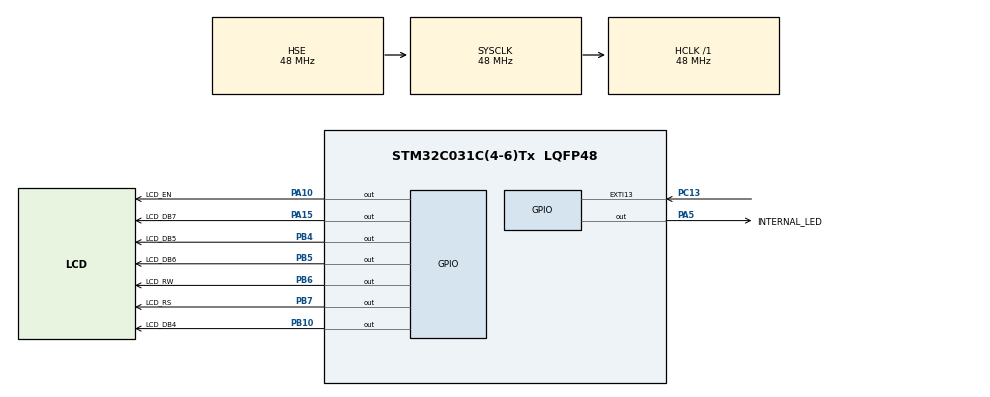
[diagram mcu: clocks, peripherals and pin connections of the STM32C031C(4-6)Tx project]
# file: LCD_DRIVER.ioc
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Mcu.Family=STM32C0
Mcu.Name=STM32C031C(4-6)Tx
Mcu.Package=LQFP48
PA10.GPIO_Label=LCD_EN
PA10.Signal=GPIO_Output
PA13.GPIO_Label=DEBUG_SWDIO
PA13.Signal=DEBUG_SWDIO
PA14-BOOT0.GPIO_Label=DEBUG_SWCLK
PA14-BOOT0.Signal=DEBUG_SWCLK
PA15.GPIO_Label=LCD_DB7
PA15.Signal=GPIO_Output
PA2.GPIO_Label=VCP_USART2_TX
PA2.Signal=USART2_TX
PA3.GPIO_Label=VCP_USART2_RX
PA3.Signal=USART2_RX
PA5.GPIO_Label=INTERNAL_LED
PA5.Signal=GPIO_Output
PB10.GPIO_Label=LCD_DB4
PB10.Signal=GPIO_Output
PB4.GPIO_Label=LCD_DB5
PB4.Signal=GPIO_Output
PB5.GPIO_Label=LCD_DB6
PB5.Signal=GPIO_Output
PB6.GPIO_Label=LCD_RW
PB6.Signal=GPIO_Output
PB7.GPIO_Label=LCD_RS
PB7.Signal=GPIO_Output
PC13.Signal=GPXTI13
PC14-OSCX_IN\ (PC14).GPIO_Label=RCC_OSCX_IN
PC14-OSCX_IN\ (PC14).Mode=LSE-External-Oscillator
PC14-OSCX_IN\ (PC14).Signal=RCC_OSCX_IN
PC15-OSCX_OUT\ (PC15).GPIO_Label=RCC_OSCX_OUT
PC15-OSCX_OUT\ (PC15).Mode=LSE-External-Oscillator
PC15-OSCX_OUT\ (PC15).Signal=RCC_OSCX_OUT
PF0-OSC_IN\ (PF0).GPIO_Label=RCC_OSC_IN
PF0-OSC_IN\ (PF0).Mode=HSE-External-Oscillator
PF0-OSC_IN\ (PF0).Signal=RCC_OSC_IN
PF1-OSC_OUT\ (PF1).GPIO_Label=RCC_OSC_OUT
PF1-OSC_OUT\ (PF1).Mode=HSE-External-Oscillator
PF1-OSC_OUT\ (PF1).Signal=RCC_OSC_OUT
ProjectManager.HeapSize=0x200
ProjectManager.StackSize=0x400
ProjectManager.TargetToolchain=STM32CubeIDE
RCC.ADCFreq_Value=48000000
RCC.AHBFreq_Value=48000000
RCC.CortexFreq_Value=48000000
RCC.EXTERNAL_CLOCK_VALUE=12288000
RCC.HCLKFreq_Value=48000000
RCC.HSE_VALUE=48000000
RCC.HSISYSCLKDivider=RCC_HSI_DIV1
RCC.HSI_VALUE=48000000
RCC.SYSCLKFreq_VALUE=48000000
RCC.SYSCLKSource=RCC_SYSCLKSOURCE_HSE
board=NUCLEO-C031C6

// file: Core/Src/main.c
/* USER CODE BEGIN Header */
/**
  ******************************************************************************
  * @file           : main.c
  * @brief          : Main program body
  ******************************************************************************
  */
/* USER CODE END Header */
#include "main.h"

/* USER CODE BEGIN Includes */
#include <stdio.h>
#include "string.h"
/* USER CODE END Includes */

/* USER CODE BEGIN PV */
// Variabile semaforo: 1 = il display si aggiorna, 0 = in pausa
volatile uint8_t lcd_running = 1;
/* USER CODE END PV */

void SystemClock_Config(void);
static void MX_GPIO_Init(void);

/* USER CODE BEGIN 0 */

void LCD_Pulse_EN(void) {
    // 1. Piccolissimo ritardo per far stabilizzare i dati prima di dare l'Enable (Setup Time)
    for(volatile int x=0; x<5; x++);

    // 2. Alza Enable
    LL_GPIO_SetOutputPin(LCD_EN_GPIO_Port, LCD_EN_Pin);
    for(volatile int x=0; x<20; x++); // Ritardo per fargli leggere il dato

    // 3. Abbassa Enable
    LL_GPIO_ResetOutputPin(LCD_EN_GPIO_Port, LCD_EN_Pin);
    for(volatile int x=0; x<20; x++); // Ritardo di Hold Time
}

void LCD_Send_Nibble(uint8_t nibble) {
    // DB4..DB7
    if (nibble & 0x01) LL_GPIO_SetOutputPin(LCD_DB4_GPIO_Port, LCD_DB4_Pin);
    else               LL_GPIO_ResetOutputPin(LCD_DB4_GPIO_Port, LCD_DB4_Pin);

    if (nibble & 0x02) LL_GPIO_SetOutputPin(LCD_DB5_GPIO_Port, LCD_DB5_Pin);
    else               LL_GPIO_ResetOutputPin(LCD_DB5_GPIO_Port, LCD_DB5_Pin);

    if (nibble & 0x04) LL_GPIO_SetOutputPin(LCD_DB6_GPIO_Port, LCD_DB6_Pin);
    else               LL_GPIO_ResetOutputPin(LCD_DB6_GPIO_Port, LCD_DB6_Pin);

    if (nibble & 0x08) LL_GPIO_SetOutputPin(LCD_DB7_GPIO_Port, LCD_DB7_Pin);
    else               LL_GPIO_ResetOutputPin(LCD_DB7_GPIO_Port, LCD_DB7_Pin);

    LCD_Pulse_EN();
}

// FUNZIONE CORRETTA: Legge il Busy Flag evitando cortocircuiti logici
void LCD_WaitBusy(void) {
    uint8_t isBusy = 1;
    uint32_t timeout = 50000;

    // FONDAMENTALE: Imposta TUTTI i pin dati come INPUT prima di leggere!
    LL_GPIO_SetPinMode(LCD_DB4_GPIO_Port, LCD_DB4_Pin, LL_GPIO_MODE_INPUT);
    LL_GPIO_SetPinMode(LCD_DB5_GPIO_Port, LCD_DB5_Pin, LL_GPIO_MODE_INPUT);
    LL_GPIO_SetPinMode(LCD_DB6_GPIO_Port, LCD_DB6_Pin, LL_GPIO_MODE_INPUT);
    LL_GPIO_SetPinMode(LCD_DB7_GPIO_Port, LCD_DB7_Pin, LL_GPIO_MODE_INPUT);

    // RS = 0 (Comando), RW = 1 (Lettura)
    LL_GPIO_ResetOutputPin(LCD_RS_GPIO_Port, LCD_RS_Pin);
    LL_GPIO_SetOutputPin(LCD_RW_GPIO_Port, LCD_RW_Pin);

    while (isBusy && timeout > 0) {
        // Leggi il primo nibble (dove si trova il Busy Flag su DB7)
        LL_GPIO_SetOutputPin(LCD_EN_GPIO_Port, LCD_EN_Pin);
        for(volatile int x=0; x<15; x++);
        isBusy = LL_GPIO_IsInputPinSet(LCD_DB7_GPIO_Port, LCD_DB7_Pin);
        LL_GPIO_ResetOutputPin(LCD_EN_GPIO_Port, LCD_EN_Pin);
        for(volatile int x=0; x<15; x++);

        // Leggi il secondo nibble (Obbligatorio a 4 bit per chiudere il ciclo!)
        LL_GPIO_SetOutputPin(LCD_EN_GPIO_Port, LCD_EN_Pin);
        for(volatile int x=0; x<15; x++);
        LL_GPIO_ResetOutputPin(LCD_EN_GPIO_Port, LCD_EN_Pin);
        for(volatile int x=0; x<15; x++);

        timeout--;
    }

    // Ripristina la scrittura (RW=0) e rimetti TUTTI i pin come OUTPUT
    LL_GPIO_ResetOutputPin(LCD_RW_GPIO_Port, LCD_RW_Pin);
    LL_GPIO_SetPinMode(LCD_DB4_GPIO_Port, LCD_DB4_Pin, LL_GPIO_MODE_OUTPUT);
    LL_GPIO_SetPinMode(LCD_DB5_GPIO_Port, LCD_DB5_Pin, LL_GPIO_MODE_OUTPUT);
    LL_GPIO_SetPinMode(LCD_DB6_GPIO_Port, LCD_DB6_Pin, LL_GPIO_MODE_OUTPUT);
    LL_GPIO_SetPinMode(LCD_DB7_GPIO_Port, LCD_DB7_Pin, LL_GPIO_MODE_OUTPUT);
}

void LCD_Send_Byte(uint8_t byte, uint8_t isData) {
    // 1. Aspetta la conferma dal display usando il Flag (velocissimo!)
    LCD_WaitBusy();

    // 2. Invia i dati
    LL_GPIO_ResetOutputPin(LCD_RW_GPIO_Port, LCD_RW_Pin);

    if (isData) LL_GPIO_SetOutputPin(LCD_RS_GPIO_Port, LCD_RS_Pin);
    else        LL_GPIO_ResetOutputPin(LCD_RS_GPIO_Port, LCD_RS_Pin);

    LCD_Send_Nibble(byte >> 4);   // nibble alto
    LCD_Send_Nibble(byte & 0x0F); // nibble basso
}

void LCD_Init(void) {
    HAL_Delay(50); // attesa power-on

    // Inizializzazione 4-bit forzata a mano (senza leggere il flag)
    LL_GPIO_ResetOutputPin(LCD_RS_GPIO_Port, LCD_RS_Pin);
    LL_GPIO_ResetOutputPin(LCD_RW_GPIO_Port, LCD_RW_Pin);

    LCD_Send_Nibble(0x03); HAL_Delay(5);
    LCD_Send_Nibble(0x03); HAL_Delay(1);
    LCD_Send_Nibble(0x03); HAL_Delay(1);
    LCD_Send_Nibble(0x02); HAL_Delay(1); // passa a 4-bit

    // Da qui in poi Send_Byte userà il Busy Flag per viaggiare al massimo!
    LCD_Send_Byte(0x28, 0); // 4-bit, 2 righe, 5x8
    LCD_Send_Byte(0x0C, 0); // display ON, cursore OFF
    LCD_Send_Byte(0x06, 0); // incremento automatico
    LCD_Send_Byte(0x01, 0); // clear display
}

void LCD_Print(const char *str) {
    while (*str) {
        LCD_Send_Byte((uint8_t)*str++, 1);
    }
}
void LCD_Set_Cursor(uint8_t row, uint8_t col) {
    uint8_t address = (row == 0) ? 0x00 : 0x40;
    address += col;
    LCD_Send_Byte(0x80 | address, 0);
}

/* USER CODE END 0 */

int main(void)
{

  /* MCU Configuration--------------------------------------------------------*/

  /* Reset of all peripherals, Initializes the Flash interface and the Systick. */
  HAL_Init();

  /* Configure the system clock */
  SystemClock_Config();

  /* Initialize all configured peripherals */
  MX_GPIO_Init();
  /* USER CODE BEGIN 2 */
  LCD_Init();

  // Variabili richieste prima del ciclo while
  uint8_t i = 0;
  char buff[16];
  /* USER CODE END 2 */

  /* Infinite loop */
  while (1)
  {

    /* USER CODE BEGIN 3 */

    // Se il semaforo è verde (1), aggiorna il display
    if (lcd_running == 1)
    {
        LCD_Send_Byte(0x01, 0); // lcdSendCmd(0x01) -> Pulisce il display
        // RIMOSSO HAL_Delay(2); perché c'è il Busy Flag!

        // Stampa sulla prima riga
        sprintf(buff, "Char %4d -> ", i);
        LCD_Set_Cursor(0, 0);
        LCD_Print(buff);
        LCD_Send_Byte(i, 1);    // lcdSendChar(i) -> Invia il singolo carattere ASCII

        // Stampa sulla seconda riga (in Esadecimale)
        sprintf(buff, "Char 0x%02X -> %c", i, i);
        LCD_Set_Cursor(1, 0);
        LCD_Print(buff);

        i += 1; // Passa al carattere successivo
    }

    // Aspetta in ogni caso 750ms prima di ripetere il ciclo
    HAL_Delay(750);

  }
  /* USER CODE END 3 */
}

void SystemClock_Config(void)
{
  RCC_OscInitTypeDef RCC_OscInitStruct = {0};
  RCC_ClkInitTypeDef RCC_ClkInitStruct = {0};

  __HAL_FLASH_SET_LATENCY(FLASH_LATENCY_1);

  /** Initializes the RCC Oscillators according to the specified parameters
  * in the RCC_OscInitTypeDef structure.
  */
  RCC_OscInitStruct.OscillatorType = RCC_OSCILLATORTYPE_HSE;
  RCC_OscInitStruct.HSEState = RCC_HSE_ON;
  if (HAL_RCC_OscConfig(&RCC_OscInitStruct) != HAL_OK)
  {
    Error_Handler();
  }

  /** Initializes the CPU, AHB and APB buses clocks
  */
  RCC_ClkInitStruct.ClockType = RCC_CLOCKTYPE_HCLK|RCC_CLOCKTYPE_SYSCLK
                              |RCC_CLOCKTYPE_PCLK1;
  RCC_ClkInitStruct.SYSCLKSource = RCC_SYSCLKSOURCE_HSE;
  RCC_ClkInitStruct.SYSCLKDivider = RCC_SYSCLK_DIV1;
  RCC_ClkInitStruct.AHBCLKDivider = RCC_HCLK_DIV1;
  RCC_ClkInitStruct.APB1CLKDivider = RCC_APB1_DIV1;

  if (HAL_RCC_ClockConfig(&RCC_ClkInitStruct, FLASH_LATENCY_1) != HAL_OK)
  {
    Error_Handler();
  }
}

static void MX_GPIO_Init(void)
{
  LL_EXTI_InitTypeDef EXTI_InitStruct = {0};
  LL_GPIO_InitTypeDef GPIO_InitStruct = {0};

  /* GPIO Ports Clock Enable */
  LL_IOP_GRP1_EnableClock(LL_IOP_GRP1_PERIPH_GPIOC);
  LL_IOP_GRP1_EnableClock(LL_IOP_GRP1_PERIPH_GPIOF);
  LL_IOP_GRP1_EnableClock(LL_IOP_GRP1_PERIPH_GPIOA);
  LL_IOP_GRP1_EnableClock(LL_IOP_GRP1_PERIPH_GPIOB);

  /**/
  LL_GPIO_ResetOutputPin(INTERNAL_LED_GPIO_Port, INTERNAL_LED_Pin);

  /**/
  LL_GPIO_ResetOutputPin(LCD_DB4_GPIO_Port, LCD_DB4_Pin);

  /**/
  LL_GPIO_ResetOutputPin(LCD_EN_GPIO_Port, LCD_EN_Pin);

  /**/
  LL_GPIO_ResetOutputPin(LCD_DB7_GPIO_Port, LCD_DB7_Pin);

  /**/
  LL_GPIO_ResetOutputPin(LCD_DB5_GPIO_Port, LCD_DB5_Pin);

  /**/
  LL_GPIO_ResetOutputPin(LCD_DB6_GPIO_Port, LCD_DB6_Pin);

  /**/
  LL_GPIO_ResetOutputPin(LCD_RW_GPIO_Port, LCD_RW_Pin);

  /**/
  LL_GPIO_ResetOutputPin(LCD_RS_GPIO_Port, LCD_RS_Pin);

  /**/
  EXTI_InitStruct.Line_0_31 = LL_EXTI_LINE_13;
  EXTI_InitStruct.LineCommand = ENABLE;
  EXTI_InitStruct.Mode = LL_EXTI_MODE_IT;
  EXTI_InitStruct.Trigger = LL_EXTI_TRIGGER_RISING;
  LL_EXTI_Init(&EXTI_InitStruct);

  /**/
  LL_GPIO_SetPinMode(GPIOC, LL_GPIO_PIN_13, LL_GPIO_MODE_INPUT);

  /**/
  LL_GPIO_SetPinPull(GPIOC, LL_GPIO_PIN_13, LL_GPIO_PULL_NO);

  /**/
  LL_EXTI_SetEXTISource(LL_EXTI_CONFIG_PORTC, LL_EXTI_CONFIG_LINE13);

  /**/
  GPIO_InitStruct.Pin = VCP_USART2_TX_Pin;
  GPIO_InitStruct.Mode = LL_GPIO_MODE_ALTERNATE;
  GPIO_InitStruct.Speed = LL_GPIO_SPEED_FREQ_LOW;
  GPIO_InitStruct.OutputType = LL_GPIO_OUTPUT_PUSHPULL;
  GPIO_InitStruct.Pull = LL_GPIO_PULL_NO;
  GPIO_InitStruct.Alternate = LL_GPIO_AF_1;
  LL_GPIO_Init(VCP_USART2_TX_GPIO_Port, &GPIO_InitStruct);

  /**/
  GPIO_InitStruct.Pin = VCP_USART2_RX_Pin;
  GPIO_InitStruct.Mode = LL_GPIO_MODE_ALTERNATE;
  GPIO_InitStruct.Speed = LL_GPIO_SPEED_FREQ_LOW;
  GPIO_InitStruct.OutputType = LL_GPIO_OUTPUT_PUSHPULL;
  GPIO_InitStruct.Pull = LL_GPIO_PULL_NO;
  GPIO_InitStruct.Alternate = LL_GPIO_AF_1;
  LL_GPIO_Init(VCP_USART2_RX_GPIO_Port, &GPIO_InitStruct);

  /**/
  GPIO_InitStruct.Pin = INTERNAL_LED_Pin;
  GPIO_InitStruct.Mode = LL_GPIO_MODE_OUTPUT;
  GPIO_InitStruct.Speed = LL_GPIO_SPEED_FREQ_LOW;
  GPIO_InitStruct.OutputType = LL_GPIO_OUTPUT_PUSHPULL;
  GPIO_InitStruct.Pull = LL_GPIO_PULL_NO;
  LL_GPIO_Init(INTERNAL_LED_GPIO_Port, &GPIO_InitStruct);

  /**/
  GPIO_InitStruct.Pin = LCD_DB4_Pin;
  GPIO_InitStruct.Mode = LL_GPIO_MODE_OUTPUT;
  GPIO_InitStruct.Speed = LL_GPIO_SPEED_FREQ_LOW;
  GPIO_InitStruct.OutputType = LL_GPIO_OUTPUT_PUSHPULL;
  GPIO_InitStruct.Pull = LL_GPIO_PULL_NO;
  LL_GPIO_Init(LCD_DB4_GPIO_Port, &GPIO_InitStruct);

  /**/
  GPIO_InitStruct.Pin = LCD_EN_Pin;
  GPIO_InitStruct.Mode = LL_GPIO_MODE_OUTPUT;
  GPIO_InitStruct.Speed = LL_GPIO_SPEED_FREQ_LOW;
  GPIO_InitStruct.OutputType = LL_GPIO_OUTPUT_PUSHPULL;
  GPIO_InitStruct.Pull = LL_GPIO_PULL_NO;
  LL_GPIO_Init(LCD_EN_GPIO_Port, &GPIO_InitStruct);

  /**/
  GPIO_InitStruct.Pin = LCD_DB7_Pin;
  GPIO_InitStruct.Mode = LL_GPIO_MODE_OUTPUT;
  GPIO_InitStruct.Speed = LL_GPIO_SPEED_FREQ_LOW;
  GPIO_InitStruct.OutputType = LL_GPIO_OUTPUT_PUSHPULL;
  GPIO_InitStruct.Pull = LL_GPIO_PULL_NO;
  LL_GPIO_Init(LCD_DB7_GPIO_Port, &GPIO_InitStruct);

  /**/
  GPIO_InitStruct.Pin = LCD_DB5_Pin;
  GPIO_InitStruct.Mode = LL_GPIO_MODE_OUTPUT;
  GPIO_InitStruct.Speed = LL_GPIO_SPEED_FREQ_LOW;
  GPIO_InitStruct.OutputType = LL_GPIO_OUTPUT_PUSHPULL;
  GPIO_InitStruct.Pull = LL_GPIO_PULL_NO;
  LL_GPIO_Init(LCD_DB5_GPIO_Port, &GPIO_InitStruct);

  /**/
  GPIO_InitStruct.Pin = LCD_DB6_Pin;
  GPIO_InitStruct.Mode = LL_GPIO_MODE_OUTPUT;
  GPIO_InitStruct.Speed = LL_GPIO_SPEED_FREQ_LOW;
  GPIO_InitStruct.OutputType = LL_GPIO_OUTPUT_PUSHPULL;
  GPIO_InitStruct.Pull = LL_GPIO_PULL_NO;
  LL_GPIO_Init(LCD_DB6_GPIO_Port, &GPIO_InitStruct);

  /**/
  GPIO_InitStruct.Pin = LCD_RW_Pin;
  GPIO_InitStruct.Mode = LL_GPIO_MODE_OUTPUT;
  GPIO_InitStruct.Speed = LL_GPIO_SPEED_FREQ_LOW;
  GPIO_InitStruct.OutputType = LL_GPIO_OUTPUT_PUSHPULL;
  GPIO_InitStruct.Pull = LL_GPIO_PULL_NO;
  LL_GPIO_Init(LCD_RW_GPIO_Port, &GPIO_InitStruct);

  /**/
  GPIO_InitStruct.Pin = LCD_RS_Pin;
  GPIO_InitStruct.Mode = LL_GPIO_MODE_OUTPUT;
  GPIO_InitStruct.Speed = LL_GPIO_SPEED_FREQ_LOW;
  GPIO_InitStruct.OutputType = LL_GPIO_OUTPUT_PUSHPULL;
  GPIO_InitStruct.Pull = LL_GPIO_PULL_NO;
  LL_GPIO_Init(LCD_RS_GPIO_Port, &GPIO_InitStruct);

  /* USER CODE BEGIN MX_GPIO_Init_2 */
    NVIC_SetPriority(EXTI4_15_IRQn, 0); // Imposta la priorità (0 = massima)
    NVIC_EnableIRQ(EXTI4_15_IRQn);      // Abilita l'interrupt
  /* USER CODE END MX_GPIO_Init_2 */
}

/* USER CODE BEGIN 4 */

/**
  * @brief Questa funzione gestisce gli interrupt delle linee EXTI da 4 a 15.
  */
void EXTI4_15_IRQHandler(void)
{
  // Verifica se l'interrupt è stato generato dalla linea 13 sul fronte di salita (RISING)
  if (LL_EXTI_IsActiveRisingFlag_0_31(LL_EXTI_LINE_13) != RESET)
  {
    // 1. Pulisce la flag dell'interrupt RISING (FONDAMENTALE)
    LL_EXTI_ClearRisingFlag_0_31(LL_EXTI_LINE_13);

    // 2. Controllo anti-rimbalzo (Debouncing)
    // Memorizza l'ultimo momento in cui hai premuto il tasto
    static uint32_t ultimo_istante_pressione = 0;
    uint32_t istante_attuale = HAL_GetTick(); // Prende il tempo in millisecondi

    // Se sono passati almeno 200 millisecondi dall'ultima pressione vera...
    if ((istante_attuale - ultimo_istante_pressione) > 200)
    {
        // 3. Inverti lo stato di esecuzione (se era 1 diventa 0, se 0 diventa 1)
        lcd_running = !lcd_running;

        // 4. Inverti il LED per avere un feedback visivo immediato
        LL_GPIO_TogglePin(INTERNAL_LED_GPIO_Port, INTERNAL_LED_Pin);

        // Salva il tempo di questa pressione
        ultimo_istante_pressione = istante_attuale;
    }
  }
}

/* USER CODE END 4 */

void Error_Handler(void)
{
  __disable_irq();
  while (1)
  {
  }
}
